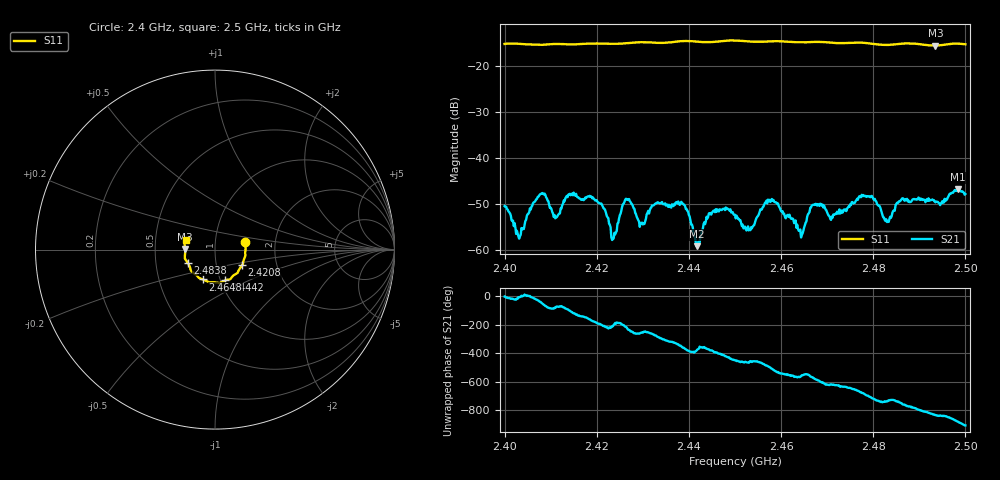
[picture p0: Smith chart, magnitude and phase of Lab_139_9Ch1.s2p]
# Hz S RI R 50
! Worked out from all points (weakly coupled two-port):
!   601 points, 2.4 GHz to 2.5 GHz, reference 50 ohm
!   highest |S21| = -46.79 dB at 2.4983 GHz (marker M1); lowest = -59.1 dB at 2.4417 GHz (marker M2)
!   lowest |S11| = -15.6 dB at 2.4935 GHz (marker M3), VSWR 1.40, Z = 35.8 + j0.206 ohm
!   |S11| at or under -10 dB: start of sweep to end of sweep
!   S12 and S22 are empty: the file has one direction only
!   S11 on the Smith chart (normalised r, x): 2.4 GHz: 1.40, +0.12; 2.4208 GHz: 1.33, -0.24; 2.4442 GHz: 1.05, -0.37; 2.4648 GHz: 0.83, -0.28; 2.4838 GHz: 0.73, -0.11; 2.5 GHz: 0.72, +0.08
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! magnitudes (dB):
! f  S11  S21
! 2.4 GHz  -15.3  -50.5
! 2.403 GHz  -15.2  -57.1
! 2.4078 GHz  -15.4  -47.8
! 2.4112 GHz  -15.3  -52.8
! 2.4167 GHz  -15.3  -49.1
! 2.4208 GHz  -15.2  -49.9
! 2.4237 GHz  -15.2  -57.4
! 2.4265 GHz  -15.1  -49.0
! 2.4298 GHz  -14.9  -54.0
! 2.4333 GHz  -15.0  -49.7
! 2.4387 GHz  -14.6  -49.9
! 2.4417 GHz  -14.7  -59.1
! 2.4442 GHz  -14.9  -52.8
! 2.45 GHz  -14.5  -52.3
! 2.458 GHz  -14.7  -48.9
! 2.4648 GHz  -14.9  -55.8
! 2.4667 GHz  -14.8  -50.3
! 2.4833 GHz  -15.5  -53.9
! 2.4838 GHz  -15.4  -53.0
! 2.4935 GHz  -15.6  -49.6
! 2.4983 GHz  -15.2  -46.8
! 2.5 GHz  -15.3  -47.8
